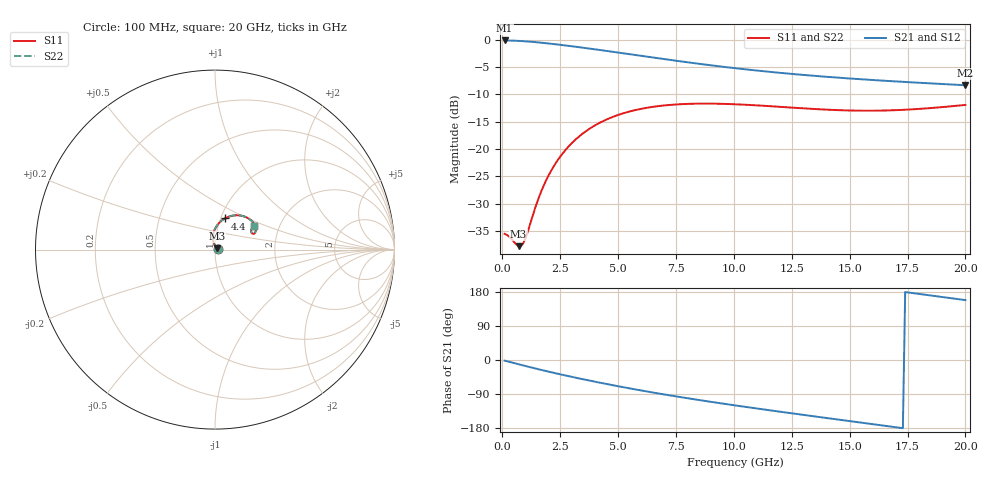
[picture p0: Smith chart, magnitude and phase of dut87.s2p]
! Created with skrf 1.9.0 (http://scikit-rf.org).
# GHz S RI R 50.0
!freq ReS11 ImS11 ReS21 ImS21 ReS12 ImS12 ReS22 ImS22
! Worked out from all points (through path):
!   200 points, 100 MHz to 20 GHz, reference 50 ohm
!   highest |S21| = -0.15 dB at 100 MHz (marker M1); lowest = -8.3 dB at 20 GHz (marker M2)
!   group delay of S21, straight-line fit = 26.7 ps
!   lowest |S11| = -37.7 dB at 700 MHz (marker M3), VSWR 1.03, Z = 51 + j0.808 ohm
!   |S11| at or under -10 dB: start of sweep to end of sweep
!   |S22| runs from -37.7 to -11.7 dB; largest |S21 - S12| = 2.1e-15
!   S11 on the Smith chart (normalised r, x): 100 MHz: 1.03, +0.00; 4.4 GHz: 1.05, +0.38; 20 GHz: 1.48, +0.42
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0.1  0.0168 0.000869  0.9825 -0.0277  0.9825 -0.0277  0.0168 0.000869
0.3  0.0156 0.00257  0.9778 -0.0827  0.9778 -0.0827  0.0156 0.00257
0.7  0.0103 0.00792  0.9553 -0.1893  0.9553 -0.1893  0.0103 0.00792
0.8  0.00848 0.00985  0.9472 -0.2148  0.9472 -0.2148  0.00848 0.00985
0.9  0.00654 0.0121  0.9381 -0.2398  0.9381 -0.2398  0.00654 0.0121
1  0.00453 0.0146  0.9282 -0.2643  0.9282 -0.2643  0.00453 0.0146
1.6  -0.00679 0.0365  0.8534 -0.3972  0.8534 -0.3972  -0.00679 0.0365
1.8  -0.00937 0.046  0.8238 -0.4359  0.8238 -0.4359  -0.00937 0.046
2.1  -0.0113 0.0619  0.7765 -0.4886  0.7765 -0.4886  -0.0113 0.0619
2.4  -0.0106 0.0789  0.7263 -0.535  0.7263 -0.535  -0.0106 0.0789
2.7  -0.0071 0.0963  0.6742 -0.5753  0.6742 -0.5753  -0.0071 0.0963
3.5  0.015 0.1392  0.531 -0.655  0.531 -0.655  0.015 0.1392
4.4  0.0552 0.1736  0.3714 -0.7023  0.3714 -0.7023  0.0552 0.1736
5.5  0.1109 0.1908  0.1916 -0.7111  0.1916 -0.7111  0.1109 0.1908
6.8  0.1672 0.1831  0.0126 -0.6728  0.0126 -0.6728  0.1672 0.1831
8.4  0.2102 0.1534  -0.1539 -0.5853  -0.1539 -0.5853  0.2102 0.1534
10.1  0.2268 0.1201  -0.2754 -0.4728  -0.2754 -0.4728  0.2268 0.1201
11.7  0.2252 0.0981  -0.3501 -0.3627  -0.3501 -0.3627  0.2252 0.0981
13.4  0.2156 0.0882  -0.3978 -0.2473  -0.3978 -0.2473  0.2156 0.0882
15  0.2064 0.0904  -0.4183 -0.1421  -0.4183 -0.1421  0.2064 0.0904
16.7  0.2016 0.1015  -0.4172 -0.0359  -0.4172 -0.0359  0.2016 0.1015
20  0.2165 0.1315  -0.3557 0.1432  -0.3557 0.1432  0.2165 0.1315
